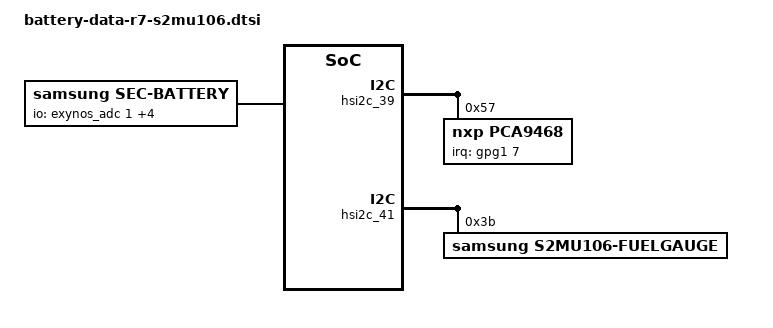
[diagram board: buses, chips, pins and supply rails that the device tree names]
/*
 * SAMSUNG UNIVERSAL5433 board device tree source
 *
 * Copyright (c) 2013 Samsung Electronics Co., Ltd.
 *		http://www.samsung.com
 *
 * This program is free software; you can redistribute it and/or modify
 * it under the terms of the GNU General Public License version 2 as
 * published by the Free Software Foundation.
 */

#include <dt-bindings/battery/sec_battery_param_define.h>

&pinctrl_2 {
  	dc_cpen: dc-cpen {
		samsung,pins = "gph1-3";
		samsung,pin-function = <1>;
		samsung,pin-pud = <0>;
		samsung,pin-drv = <0>;
	};
};

&pinctrl_6 {
 	fuel_irq: fuel-irq {
		samsung,pins = "gpg0-0";
	  	samsung,pin-function = <0>;
	  	samsung,pin-pud = <3>;
	  	samsung,pin-drv = <0>;
	  	samsung,pin-pud-pdn = <3>;
  	};

  	dc_irq: dc-irq {
		samsung,pins = "gpg1-7";
		samsung,pin-function = <0x0f>;
		samsung,pin-pud = <0>;
		samsung,pin-drv = <0>;
	};
};

&hsi2c_39 {
	status = "okay";

	pca9468@57 {
		compatible = "nxp,pca9468";
		reg = <0x57>;
		pinctrl-names = "default";
		pinctrl-0     = <&dc_irq &dc_cpen>;

		pca9468,irq-gpio = <&gpg1 7 0>;
		pca9468,input-current-limit = <2550000>; /* 2.55A */
		pca9468,charging-current = <6000000>; /* 6A */
		pca9468,input-itopoff = <500000>; /* 500mA */
		pca9468,sense-resistance = <0>; /* 5mOhm */
		pca9468,switching-frequency = <3>; /* 980KHz */
		pca9468,ntc-threshold = <0>; /* disable */
		pca9468,chg_gpio_en = <&gph1 3 0>;
		pca9468,ta-mode = <1>; /* 2:1 charging mode */
	};
};

&hsi2c_41 {
 	s2mu106-fuelgauge@3B {
		compatible = "samsung,s2mu106-fuelgauge";
		reg = <0x3B>;
		pinctrl-names = "default";
		pinctrl-0 = <&fuel_irq>;
		fuelgauge,fuel_int = <&gpg0 0 0>;
		fuelgauge,fuel_alert_soc = <1>;
		fuelgauge,fuel_alert_vol = <3300>;
		fuelgauge,low_temp_limit = <100>;
		fuelgauge,sw_vbat_l_recovery_vol = <3465>;
		fuelgauge,capacity_max = <990>;
		fuelgauge,capacity_max_margin = <200>;
		fuelgauge,capacity_min = <0>;
		fuelgauge,capacity_calculation_type = <28>;
		fuelgauge,capacity_full = <4370>;
		fuelgauge,type_str = "SDI";
		fuelgauge,fg_log_enable = <1>;

		fuelgauge,ttf_capacity = <4370>;
		fuelgauge,cv_data = <
			2488	829	1809
			2409	832	1796
			2327	837	1769
			2272	840	1743
			2182	846	1721
			2104	850	1690
			2038	854	1670
			1950	859	1640
			1904	861	1622
			1838	865	1594
			1797	867	1576
			1749	870	1560
			1703	873	1531
			1683	873	1525
			1667	875	1515
			1660	875	1512
			1653	876	1509
			1615	878	1502
			1580	880	1483
			1553	881	1463
			1544	882	1458
			1520	883	1451
			1477	886	1424
			1431	888	1409
			1396	891	1383
			1347	894	1361
			1299	896	1332
			1267	898	1315
			1231	902	1288
			1202	904	1263
			1148	906	1243
			1109	909	1213
			1067	911	1185
			1031	914	1156
			1013	915	1140
			975	917	1111
			961	919	1084
			921	921	1064
			892	923	1038
			887	923	1019
			863	925	1004
			833	927	976
			808	929	946
			787	930	918
			780	931	904
			764	932	895
			744	934	864
			730	935	846
			715	936	828
			693	937	800
			681	938	783
			666	940	752
			651	941	735
			640	942	712
			628	945	697
			622	946	679
			618	947	664
			600	950	646
			596	951	627
			589	953	614
			584	953	601
			576	956	572
			577	957	553
			562	958	535
			511	968	506
			505	969	487
			493	971	464
			492	972	435
			484	973	417
			480	975	398
			474	976	380
			470	977	364
			462	977	355
			456	978	336
			452	979	329
			446	981	303
			437	982	282
			429	984	255
			423	985	242
			422	986	229
			414	987	211
			411	988	199
			405	989	191
			397	990	171
			391	991	140
			387	992	126
			384	993	107
			372	995	84
			364	997	54
			356	998	26
			356	998	13
			0	1000	0
			>;
	};
};
  
/ {
 	fragment@battery {
		target-path = "/";
		__overlay__ {
			sec-direct-charger {
				status = "okay";
				compatible = "samsung,sec-direct-charger";

				charger,battery_name = "battery";
				charger,main_charger = "s2mu106-charger";
				charger,direct_charger = "pca9468-charger";

				charger,dchg_min_current = <2000>;
				charger,dchg_temp_low_threshold = <180>;
				charger,dchg_temp_high_threshold = <410>;
			};

			battery {
				status = "okay";
				compatible = "samsung,sec-battery";

				pinctrl-names = "default";

				battery,vendor = "Battery";
				battery,charger_name = "sec-direct-charger";
				battery,fuelgauge_name = "s2mu106-fuelgauge";
				battery,technology = <2>; /* POWER_SUPPLY_TECHNOLOGY_LION */
				battery,fgsrc_switch_name = "s2mu106-fuelgauge"; /* Fuelgauge voltage source */

				battery,batt_data_version = <2>;

				battery,chip_vendor = "LSI";
				battery,temp_adc_type = <SEC_BATTERY_ADC_TYPE_AP>;

				battery,temp_check_type = <SEC_BATTERY_TEMP_CHECK_ADC>;
				battery,usb_temp_check_type = <SEC_BATTERY_TEMP_CHECK_NONE>;
				battery,chg_temp_check_type = <SEC_BATTERY_TEMP_CHECK_ADC>;
				battery,wpc_temp_check_type = <SEC_BATTERY_TEMP_CHECK_NONE>;
				battery,dchg_temp_check_type = <SEC_BATTERY_TEMP_CHECK_ADC>;

				battery,thermal_source = <SEC_BATTERY_THERMAL_SOURCE_ADC>;
				battery,usb_thermal_source = <SEC_BATTERY_THERMAL_SOURCE_ADC>;
				battery,chg_thermal_source = <SEC_BATTERY_THERMAL_SOURCE_ADC>;
				battery,wpc_thermal_source = <SEC_BATTERY_THERMAL_SOURCE_ADC>;
				battery,coil_thermal_source = <SEC_BATTERY_THERMAL_SOURCE_ADC>;
				battery,dchg_thermal_source = <SEC_BATTERY_THERMAL_SOURCE_CHG_ADC>;

				battery,polling_time = <10 30 30 30 3600>;

				battery,temp_table_adc = <310 345 405 477 551 645 784 876 1019 1181
					1366 1562 1785 2006 2229 2475 2705 2915 3112 3318 3438 3539 3681>;
				battery,temp_table_data = <900 850 800 750 700 650 600 550 500 450
					400 350 300 250 200 150 100 50 0 (-50) (-100) (-150) (-200)>;

				battery,usb_temp_table_adc = <294 345 404 474 558 655 769 887 1021 1189
					1378 1586 1811 2048 2291 2512 2726 2932 3122 3293 3445 3575 3686>;
				battery,usb_temp_table_data = <900 850 800 750 700 650 600 550 500 450
					400 350 300 250 200 150 100 50 0 (-50) (-100) (-150) (-200)>;

				battery,chg_temp_table_adc = <285 320 380 450 528 617 743 850 992 1154
					1342 1537 1708 1982 2170 2450 2687 2900 3098 3272 3413 3467 3654>;
				battery,chg_temp_table_data = <900 850 800 750 700 650 600 550 500 450
					400 350 300 250 200 150 100 50 0 (-50) (-100) (-150) (-200)>;

				battery,wpc_temp_table_adc = <294 345 404 474 558 655 769 887 1021 1189
					1378 1586 1811 2048 2291 2512 2726 2932 3122 3293 3445 3575 3686>;
				battery,wpc_temp_table_data = <900 850 800 750 700 650 600 550 500 450
					400 350 300 250 200 150 100 50 0 (-50) (-100) (-150) (-200)>;

				battery,dchg_temp_table_adc = <110262 131376 159528 190026 225216 265098 307326 373014 436356 511428
					593538 685032 783564 886788 992358 1100274 1205844 1299684 1391178 1470942 1538976 1595280 1642200>;
				battery,dchg_temp_table_data = <900 850 800 750 700 650 600 550 500 450
					400 350 300 250 200 150 100 50 0 (-50) (-100) (-150) (-200)>;

				battery,adc_check_count = <5>;

				battery,cable_check_type = <SEC_BATTERY_CABLE_CHECK_PSY>;
				battery,cable_source_type = <SEC_BATTERY_CABLE_SOURCE_EXTERNAL>;
				battery,polling_type = <SEC_BATTERY_MONITOR_ALARM>;
				battery,monitor_initial_count = <0>;

				battery,battery_check_type = <0>; /* SEC_BATTERY_CHECK_NONE */
				battery,check_count = <0>;
				battery,check_adc_max = <1440>;
				battery,check_adc_min = <0>;

				battery,ovp_uvlo_check_type = <SEC_BATTERY_OVP_UVLO_CHGPOLLING>;

				battery,temp_check_count = <1>;
				battery,temp_highlimit_threshold_event = <700>;
				battery,temp_highlimit_recovery_event = <680>;
				battery,temp_high_threshold_event = <500>;
				battery,temp_high_recovery_event = <480>;
				battery,temp_low_threshold_event = <0>;
				battery,temp_low_recovery_event = <20>;
				battery,temp_highlimit_threshold_normal = <700>;
				battery,temp_highlimit_recovery_normal = <680>;
				battery,temp_high_threshold_normal = <500>;
				battery,temp_high_recovery_normal = <480>;
				battery,temp_low_threshold_normal = <0>;
				battery,temp_low_recovery_normal = <20>;
				battery,temp_highlimit_threshold_lpm = <700>;
				battery,temp_highlimit_recovery_lpm = <680>;
				battery,temp_high_threshold_lpm = <500>;
				battery,temp_high_recovery_lpm = <480>;
				battery,temp_low_threshold_lpm = <0>;
				battery,temp_low_recovery_lpm = <20>;
				battery,wpc_high_threshold_normal = <450>;
				battery,wpc_high_recovery_normal = <430>;
				battery,wpc_low_threshold_normal = <0>;
				battery,wpc_low_recovery_normal = <20>;
				battery,full_check_type = <SEC_BATTERY_FULLCHARGED_FG_CURRENT>;
				battery,full_check_type_2nd = <SEC_BATTERY_FULLCHARGED_FG_CURRENT>;
				battery,full_check_count = <1>;
				battery,chg_gpio_full_check = <0>;
				battery,chg_polarity_full_check = <1>;

				battery,chg_high_temp = <520>;
				battery,chg_high_temp_recovery = <500>;
				battery,dchg_high_temp = <520>;
				battery,dchg_high_temp_recovery = <460>;
				battery,dchg_high_batt_temp = <400>;
				battery,dchg_high_batt_temp_recovery = <380>;
				battery,chg_input_limit_current = <1000>;
				battery,chg_charging_limit_current = <1700>;
				battery,dchg_input_limit_current = <1000>;
				battery,dchg_charging_limit_current = <2000>;

				battery,wpc_temp_control_source = <TEMP_CONTROL_SOURCE_BAT_THM>;
				battery,wpc_high_temp = <410>;
				battery,wpc_high_temp_recovery = <400>;
				battery,wpc_charging_limit_current = <450>;
				battery,wpc_lcd_on_high_temp = <430>;
				battery,wpc_lcd_on_high_temp_rec = <300>;

				battery,wpc_store_high_temp = <410>;
				battery,wpc_store_high_temp_recovery = <400>;
				battery,wpc_store_lcd_on_high_temp = <380>;
				battery,wpc_store_lcd_on_high_temp_rec = <300>;

				battery,sleep_mode_limit_current = <500>;
				battery,wc_full_input_limit_current = <100>;
				battery,wc_cv_current = <820>;
				battery,wc_cv_pack_current = <630>;
				battery,wc_hero_stand_cc_cv = <70>;
				battery,wc_hero_stand_cv_current = <600>;
				battery,wc_hero_stand_hv_cv_current = <450>;

				battery,mix_high_temp = <420>;
				battery,mix_high_chg_temp = <500>;
				battery,mix_high_temp_recovery = <390>;

				/* SEC_BATTERY_FULL_CONDITION_NOTIMEFULL | SEC_BATTERY_FULL_CONDITION_VCELL */
				battery,full_condition_type = <9>;
				battery,full_condition_soc = <93>;
				battery,full_condition_vcell = <4330>;

				battery,recharge_check_count = <1>;
				battery,recharge_condition_type = <SEC_BATTERY_RECHARGE_CONDITION_VCELL>;
				battery,recharge_condition_soc = <98>;
				battery,recharge_condition_vcell = <4310>;

				battery,charging_total_time = <14400>;
				battery,hv_charging_total_time = <10800>;
				battery,normal_charging_total_time = <18000>;
				battery,usb_charging_total_time = <36000>;
				battery,recharging_total_time = <5400>;
				battery,charging_reset_time = <0>;
				battery,chg_float_voltage = <4380>;
				battery,chg_float_voltage_conv = <1>;

				battery,siop_event_check_type = <1>;
				battery,siop_call_cv_current = <330>;
				battery,siop_call_cc_current = <330>;

				battery,pre_afc_work_delay = <2000>;
				battery,pre_wc_afc_work_delay = <4000>;
				battery,pre_afc_input_current = <500>;
				battery,pre_wc_afc_input_current = <500>;
				battery,prepare_ta_delay = <0>; /* msec */

				battery,swelling_high_temp_block = <410>;
				battery,swelling_high_temp_recov = <390>;
				battery,swelling_low_temp_block_1st = <150>;
				battery,swelling_low_temp_recov_1st = <170>;
				battery,swelling_low_temp_block_2nd = <50>;
				battery,swelling_low_temp_recov_2nd = <70>;
				battery,swelling_low_temp_3rd_ctrl;
				battery,swelling_low_temp_block_3rd = <180>;
				battery,swelling_low_temp_recov_3rd = <200>;

				battery,swelling_low_temp_current = <1000>;	/* 0.24C */
				battery,swelling_low_temp_current_2nd = <400>;	/* 0.1C */
				battery,swelling_low_temp_current_3rd = <3100>;	/* 0.72C */
				battery,swelling_low_temp_topoff = <250>;	/* 0.05C */
				battery,swelling_high_temp_current = <1550>;	/* 0.36C */
				battery,swelling_high_temp_topoff = <250>;	/* 0.05C */
				battery,swelling_wc_high_temp_current = <1000>;	/* 0.24C */
				battery,swelling_wc_low_temp_current = <1000>;	/* 0.24C */
				battery,swelling_wc_low_temp_current_2nd = <400>;	/* 0.1C */
				battery,swelling_wc_low_temp_current_3rd = <3000>;	/* 0.72C */

				battery,swelling_drop_float_voltage = <4150>;
				battery,swelling_high_rechg_voltage = <4000>;
				battery,swelling_low_rechg_thr = <150>;

				battery,siop_input_limit_current = <1200>;
				battery,siop_charging_limit_current = <1000>;
				battery,siop_hv_input_limit_current = <700>;
				battery,siop_hv_input_limit_current_2nd = <450>;
				battery,siop_hv_charging_limit_current = <1000>;
				battery,siop_apdo_input_limit_current = <1200>;
				battery,siop_apdo_charging_limit_current = <2000>;

				battery,siop_wireless_input_limit_current = <600>;
				battery,siop_wireless_charging_limit_current = <700>;
				battery,siop_hv_wireless_input_limit_current = <600>;
				battery,siop_hv_wireless_charging_limit_current = <700>;
				battery,siop_store_hv_wireless_input_limit_current = <450>;

				battery,ttf_hv_charge_current = <3510>;
				battery,ttf_hv_wireless_charge_current = <1050>;
				battery,ttf_wireless_charge_current = <900>;
				battery,ttf_dc25_charge_current = <4000>;
				battery,ttf_normal_charge_current = <2220>;
				
				battery,rp_current_rp1 = <500>;
				battery,rp_current_rp2 = <1500>;
				battery,rp_current_rp3 = <3000>;
				battery,rp_current_rdu_rp3 = <2100>;
				battery,rp_current_abnormal_rp3 = <1800>;

				battery,pd_charging_charge_power = <15000>;
				battery,max_charging_current = <3150>;
				battery,max_charging_charge_power = <25000>; /* 25W */

				/* cycle, chg_float_voltage, recharge_condition_vcell, full_condition_vcell, full_condition_soc */
				battery,age_data = <0 4380 4310 4330 93 45
					300 4360 4290 4310 92 45
					400 4340 4270 4290 91 45
					700 4320 4250 4270 90 45
					1000 4270 4200 4220 89 45>;

				battery,health_condition = <
					/* CYCLE ASOC */
					900 0  /* GOOD */
					1200 0 /* NORMAL */
					1500 0 /* AGED */
					>;

				/* step charging option */
				battery,step_charging_type = <0>;
				battery,step_charging_charge_power = <12000>;
				battery,step_charging_condition = <45 100>;
				battery,step_charging_condition_curr = <3150 3150>;
				battery,step_charging_current = <3150 3150>;
				battery,step_charging_float_voltage = <4150 4380>;

				/* direct step charging option */
				battery,dc_step_chg_type = <0x6B>; /* origin(0x6B), soc option is temporary removed */
				battery,dc_step_chg_charge_power = <22000>;
				battery,dc_step_chg_step = <3>;
				battery,dc_step_chg_cond_vol = <4110 4210 4380>; /* STEP_CHARGING_CONDITION_VOLTAGE */ 
				battery,dc_step_chg_cond_iin = <1950 1575 0>; /* STEP_CHARGING_CONDITION_INPUT_CURRENT */
				battery,dc_step_chg_iin_check_cnt = <3>;
				battery,dc_step_chg_cond_soc = <15 50 100>; /* STEP_CHARGING_CONDITION_SOC */
				battery,dc_step_chg_val_vfloat = <4110 4210 4380>; /* STEP_CHARGING_CONDITION_FLOAT_VOLTAGE */
				battery,dc_step_chg_val_iout = <4750 3900 3150>;

				battery,max_input_voltage = <9000>; /* mV */
				battery,max_input_current = <3000>;  /* mA */

				battery,enable_sysovlo_irq;
				battery,enable_noise_wa;

				battery,standard_curr = <3150>;
				battery,expired_time = <10800>;
				battery,recharging_expired_time = <5400>;
				battery,battery_full_capacity = <4300>;
				battery,cisd_max_voltage_thr = <5000>; /* batttery ovp dettection voltage */
				battery,cisd_alg_index = <8>;
				battery,ignore_cisd_index = <0 960>; /* Do not use AFC_FAIL to DROP_VALUE */
				battery,ignore_cisd_index_d = <0 120>; /* Do not use AFC_FAIL_PER_DAY to DROP_VALUE_PER_DAY */ 

				io-channels = <&exynos_adc 1>, <&exynos_adc 3>, <&exynos_adc 11>, <&exynos_adc 1>, <&exynos_adc 1>;
				io-channel-names = "adc-temp", "adc-chg-temp", "adc-in-bat", "adc-wpc-temp", "adc-usb-temp";
#io-channel-cells = <5>;
				io-channel-ranges;
			};

			battery_params {
				battery,battery_data =
					<
					/***** battery data for 4.38 *****/
					/* battery,battery_table3 */
					46	11	166	10	30	10	166	9	51	9
					197	8	97	8	255	7	177	7	99	7
					247	6	183	6	139	6	104	6	77	6
					54	6	20	6	237	5	179	5	131	5
					18	5	239	1	105	8	0	8	151	7
					46	7	197	6	92	6	243	5	138	5
					33	5	184	4	79	4	230	3	125	3
					20	3	172	2	67	2	218	1	113	1
					8	1	159	0	54	0	225	15


					/* battery,battery_table4 */
					10	10	10	10	38	37	37	36	36	36
					36	37	38	39	40	41	42	44	49	59
					73	154


					/* battery,batcap */
					0xF0 0x41 0x8A 0x0B /* [0x0E] [0x0F] [0x10] [0x11] */
					/* battery,accum */ 
					0x00 0x08 /* [0x44] [0x45] */

					/* battery,soc_arr_val */
					10513	10000	9487	8975	8462	7950	7437	6925	6412	5900
					5387	4875	4362	3850	3337	2825	2313	1799	1287	774
					262	(-151)


					/* battery,ocv_arr_val */
					43974	43310	42646	42059	41498	40964	40475	39995	39616	39233
					38706	38393	38176	38007	37877	37763	37600	37410	37125	36890
					36340	32418


					/* battery,tunning */
					0x00

					/***** battery data for 4.36 *****/
					/* battery,battery_table3 */
					46 11 166 10 30 10 166 9 51 9
					197 8 97 8 255 7 177 7 99 7
					247 6 183 6 139 6 104 6 77 6
					54 6 20 6 237 5 179 5 131 5
					18 5 239 1 120 8 15 8 165 7
					59 7 209 6 103 6 253 5 148 5
					42 5 192 4 86 4 236 3 130 3
					25 3 175 2 69 2 219 1 113 1
					7 1 158 0 52 0 222 15

					/* battery,battery_table4 */
					10 10 10 10 38 37 37 36 36 36
					36 37 38 39 40 41 42 44 49 59
					73 154

					/* battery,batcap */
					0x10 0x42 0xE8 0x09 /* [0x0E] [0x0F] [0x10] [0x11] */
					/* battery,accum */
					0x00 0x08 /* [0x44] [0x45] */

					/* battery,soc_arr_val */
					10588 10071 9554 9037 8521 8004 7487 6971 6454 5937
					5420 4904 4387 3870 3354 2837 2320 1803 1286 769
					253 (-164)

					/* battery,ocv_arr_val */
					43974 43310 42646 42059 41498 40964 40475 39995 39616 39233
					38706 38393 38176 38007 37877 37763 37600 37410 37125 36890
					36340 32418

					/* battery,tunning */
					0x00

					/***** battery data for 4.34 *****/
					/* battery,battery_table3 */
					46 11 166 10 30 10 166 9 51 9
					197 8 97 8 255 7 177 7 99 7
					247 6 183 6 139 6 104 6 77 6
					54 6 20 6 237 5 179 5 131 5
					18 5 239 1 154 8 47 8 195 7
					88 7 236 6 129 6 21 6 170 5
					62 5 211 4 103 4 252 3 144 3
					37 3 186 2 78 2 227 1 119 1
					11 1 160 0 53 0 222 15

					/* battery,battery_table4 */
					10 10 10 10 38 37 37 36 36 36
					36 37 38 39 40 41 42 44 49 59
					73 154

					/* battery,batcap */
					0x0C 0x41 0xC1 0x09 /* [0x0E] [0x0F] [0x10] [0x11] */
					/* battery,accum */
					0x00 0x08 /* [0x44] [0x45] */

					/* battery,soc_arr_val */
					10753 10228 9703 9178 8654 8129 7604 7079 6555 6030
					5505 4980 4455 3931 3406 2881 2356 1831 1306 781
					257 (-166)

					/* battery,ocv_arr_val */
					43974 43310 42646 42059 41498 40964 40475 39995 39616 39233
					38706 38393 38176 38007 37877 37763 37600 37410 37125 36890
					36340 32418

					/* battery,tunning */
					0x00

					/***** battery data for 4.32 *****/
					/* battery,battery_table3 */
					46 11 166 10 30 10 166 9 51 9
					197 8 97 8 255 7 177 7 99 7
					247 6 183 6 139 6 104 6 77 6
					54 6 20 6 237 5 179 5 131 5
					18 5 239 1 192 8 82 8 229 7
					120 7 11 7 157 6 48 6 195 5
					85 5 232 4 123 4 13 4 160 3
					51 3 197 2 88 2 235 1 125 1
					16 1 163 0 53 0 221 15

					/* battery,battery_table4 */
					10 10 10 10 38 37 37 36 36 36
					36 37 38 39 40 41 42 44 49 59
					73 154

					/* battery,batcap */
					0xF4 0x3F 0x97 0x09 /* [0x0E] [0x0F] [0x10] [0x11] */
					/* battery,accum */
					0x00 0x08 /* [0x44] [0x45] */

					/* battery,soc_arr_val */
					10937 10403 9869 9335 8802 8268 7734 7200 6667 6133
					5599 5065 4532 3998 3464 2930 2397 1862 1328 795
					261 (-169)

					/* battery,ocv_arr_val */
					43974 43310 42646 42059 41498 40964 40475 39995 39616 39233
					38706 38393 38176 38007 37877 37763 37600 37410 37125 36890
					36340 32418

					/* battery,tunning */
					0x00

					/***** battery data for 4.27 *****/
					/* battery,battery_table3 */
					46 11 166 10 30 10 166 9 51 9
					197 8 97 8 255 7 177 7 99 7
					247 6 183 6 139 6 104 6 77 6
					54 6 20 6 237 5 179 5 131 5
					18 5 239 1 30 9 172 8 58 8
					200 7 86 7 228 6 114 6 1 6
					143 5 29 5 171 4 57 4 199 3
					85 3 227 2 113 2 255 1 141 1
					27 1 170 0 56 0 220 15

					/* battery,battery_table4 */
					10 10 10 10 38 37 37 36 36 36
					36 37 38 39 40 41 42 44 49 59
					73 154

					/* battery,batcap */
					0x60 0x3D 0x34 0x09 /* [0x0E] [0x0F] [0x10] [0x11] */
					/* battery,accum */
					0x00 0x08 /* [0x44] [0x45] */

					/* battery,soc_arr_val */
					11396 10839 10283 9727 9171 8615 8059 7502 6946 6390
					5834 5278 4722 4166 3609 3053 2497 1940 1384 828
					272 (-176)

					/* battery,ocv_arr_val */
					43974 43310 42646 42059 41498 40964 40475 39995 39616 39233
					38706 38393 38176 38007 37877 37763 37600 37410 37125 36890
					36340 32418

					/* battery,tunning */
					0x00
					>;

			};

			s2mu106-charger {
				status = "disable";
				compatible = "samsung,s2mu106-charger";
			};

			/* sec_battery_cable
			 *   0	UNKNOWN,
			 *   1	NONE,
			 *   2	PREPARE_TA,
			 *   3	TA,
			 *   4	USB,
			 *   5	USB_CDP,
			 *   6	9V_TA,
			 *   7	9V_ERR,
			 *   8	9V_UNKNOWN,
			 *   9	12V_TA,
			 *  10	WIRELESS,
			 *  11	HV_WIRELESS,
			 *  12	PMA_WIRELESS,
			 *  13	WIRELESS_PACK,
			 *  14	CABLE_WIRELESS_HV_PACK,
			 *  15	WIRELESS_STAND,
			 *  16	WIRELESS_HV_STAND,
			 *  17	QC20,
			 *  18	QC30,
			 *  19	PDIC,
			 *  20	UARTOFF,
			 *  21	OTG,
			 *  22	LAN_HUB,
			 *  23	POWER_SHARING,
			 *  24	HMT_CONNECTED,
			 *  25	HMT_CHARGE,
			 *  26	HV_TA_CHG_LIMIT,
			 *  27	WIRELESS_VEHICLE,
			 *  28	WIRELESS_HV_VEHICLE,
			 *  29	PREPARE_WIRELESS_HV,
			 *  30  TIMEOUT,
			 *  31  SMART_OTG,
			 *  32  SMART_NOTG,
			 *  33  WIRELESS_TX,
			 *  34	HV_WIRELESS_20,
			 *  35	HV_WIRELESS_20_LIMIT,
			 *  36	WIRELESS_FAKE,
			 *  37  PREPARE_WIRELESS_20,
			 *  38	CABLE_PDIC_APDO,
			 *  39	CABLE_MAX,
			 */
			cable-info {
				default_input_current = <1800>;
				default_charging_current = <2100>;
				full_check_current_1st = <650>;
				full_check_current_2nd = <250>;

				current_group_1 {
					cable_number = <
						SEC_BATTERY_CABLE_PREPARE_TA
						SEC_BATTERY_CABLE_PDIC
						SEC_BATTERY_CABLE_OTG
						SEC_BATTERY_CABLE_LAN_HUB
						SEC_BATTERY_CABLE_POWER_SHARING>;
					input_current = <500>;
					charging_current = <500>;
				};
				current_group_2 {
					cable_number = <
						SEC_BATTERY_CABLE_HMT_CHARGE
						SEC_BATTERY_CABLE_SMART_OTG>;
					input_current = <1000>;
					charging_current = <1000>;
				};
				current_group_3 {
					cable_number = <
						SEC_BATTERY_CABLE_USB_CDP
						SEC_BATTERY_CABLE_SMART_NOTG>;
					input_current = <1500>;
					charging_current = <1500>;
				};
				current_group_4 {
					cable_number = <
						SEC_BATTERY_CABLE_9V_TA
						SEC_BATTERY_CABLE_9V_ERR
						SEC_BATTERY_CABLE_9V_UNKNOWN
						SEC_BATTERY_CABLE_QC20
						SEC_BATTERY_CABLE_QC30>;
					input_current = <1650>;
					charging_current = <3150>;
				};
				current_group_5 {
					cable_number = <SEC_BATTERY_CABLE_12V_TA>;
					input_current = <1650>;
					charging_current = <3150>;
				};
				current_group_6 {
					cable_number = <
						SEC_BATTERY_CABLE_WIRELESS
						SEC_BATTERY_CABLE_PMA_WIRELESS
						SEC_BATTERY_CABLE_WIRELESS_STAND
						SEC_BATTERY_CABLE_WIRELESS_VEHICLE
						SEC_BATTERY_CABLE_WIRELESS_TX
						SEC_BATTERY_CABLE_WIRELESS_FAKE>;
					input_current = <800>;
					charging_current = <3150>;
				};
				current_group_7 {
					cable_number = <SEC_BATTERY_CABLE_WIRELESS_PACK>;
					input_current = <700>;
					charging_current = <3150>;
				};
				current_group_8 {
					cable_number = <SEC_BATTERY_CABLE_HMT_CONNECTED>;
					input_current = <1000>;
					charging_current = <450>;
				};
				current_group_9 {
					cable_number = <SEC_BATTERY_CABLE_HV_TA_CHG_LIMIT>;
					input_current = <2000>;
					charging_current = <1800>;
				};
				current_group_10 {
					cable_number = <
						SEC_BATTERY_CABLE_HV_WIRELESS
						SEC_BATTERY_CABLE_WIRELESS_HV_PACK
						SEC_BATTERY_CABLE_WIRELESS_HV_STAND
						SEC_BATTERY_CABLE_WIRELESS_HV_VEHICLE
						SEC_BATTERY_CABLE_HV_WIRELESS_20_LIMIT>;
					input_current = <750>;
					charging_current = <3150>;
				};
				current_group_11 {
					cable_number = <
						SEC_BATTERY_CABLE_PREPARE_WIRELESS_HV
						SEC_BATTERY_CABLE_PREPARE_WIRELESS_20>;
					input_current = <500>;
					charging_current = <1400>;
				};
				current_group_12 {
					cable_number = <
						SEC_BATTERY_CABLE_NONE
						SEC_BATTERY_CABLE_USB
						SEC_BATTERY_CABLE_TIMEOUT>;
					input_current = <475>;
					charging_current = <550>;
				};
				current_group_14 {
					cable_number = <SEC_BATTERY_CABLE_HV_WIRELESS_20>;
					input_current = <1200>;
					charging_current = <3150>;
				};
			};
		};
	};
};
